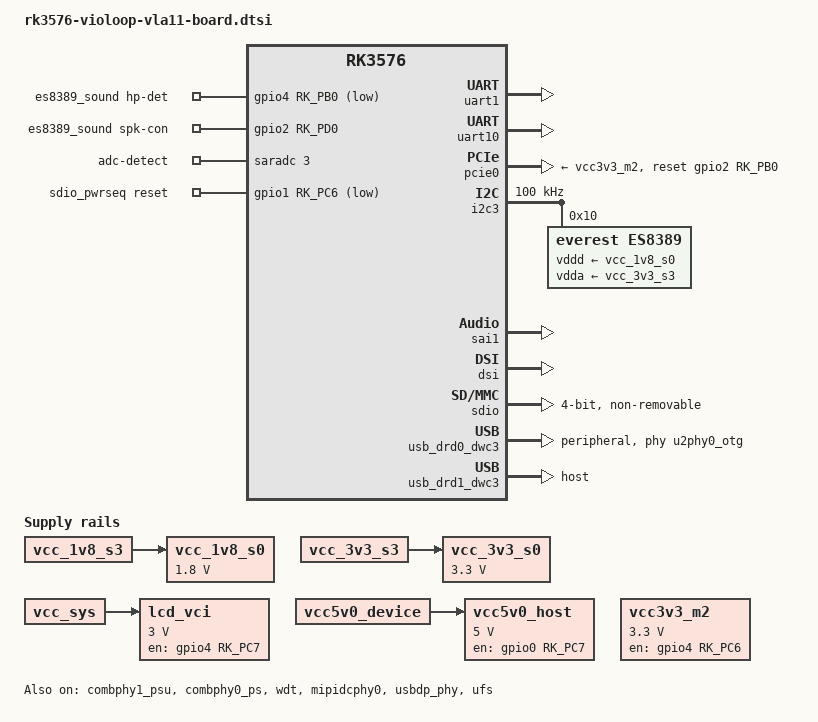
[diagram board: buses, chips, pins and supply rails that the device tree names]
// SPDX-License-Identifier: (GPL-2.0+ OR MIT)
/*
 * Copyright (c) 2024 Rockchip Electronics Co., Ltd.
 *
 */

#include <dt-bindings/usb/pd.h>
#include "../../rk3576-rk806.dtsi"

/ {
	es8389_sound: es8389-sound {
        status = "okay";
        compatible = "rockchip,multicodecs-card";
		/* Keep the legacy ALSA card ID expected by Violoop userspace. */
		rockchip,card-name = "rockchip-es8388";
        hp-det-gpio = <&gpio4 RK_PB0 GPIO_ACTIVE_LOW>;
        io-channels = <&saradc 3>;
        io-channel-names = "adc-detect";
        keyup-threshold-microvolt = <1800000>;
        poll-interval = <100>;
        spk-con-gpio = <&gpio2 RK_PD0 GPIO_ACTIVE_HIGH>;
        //hp-con-gpio = <&gpio3 RK_PD6 GPIO_ACTIVE_HIGH>;
		/* Keep the PA muted until the codec output is stable. */
		rockchip,pre-power-on-delay-ms = <150>;
		rockchip,post-power-down-delay-ms = <80>;
        rockchip,format = "i2s";
        rockchip,mclk-fs = <256>;
        rockchip,cpu = <&sai1>;
        rockchip,codec = <&es8389>;
        rockchip,audio-routing =
            "Speaker", "HPOL",
            "Speaker", "HPOR",
            "Speaker", "Speaker Power",
            "INPUT1", "Main Mic",
            "INPUT2", "Headset Mic";
        pinctrl-names = "default";
        pinctrl-0 = <&hp_det>;
        play-pause-key {
            label = "playpause";
            linux,code = <KEY_PLAYPAUSE>;
            press-threshold-microvolt = <2000>;
        };
    };



	sdio_pwrseq: sdio-pwrseq {
        compatible = "mmc-pwrseq-simple";
        pinctrl-names = "default";
        pinctrl-0 = <&wifi_poweren_gpio>;

        /*
         * On the module itself this is one of these (depending
         * on the actual card populated):
         * - SDIO_RESET_L_WL_REG_ON
         * - PDN (power down when low)
         */
        post-power-on-delay-ms = <200>;
        reset-gpios = <&gpio1 RK_PC6 GPIO_ACTIVE_LOW>;
        status = "okay";
    };

	vcc_1v8_s0: vcc-1v8-s0 {
		compatible = "regulator-fixed";
		regulator-name = "vcc_1v8_s0";
		regulator-boot-on;
		regulator-always-on;
		regulator-min-microvolt = <1800000>;
		regulator-max-microvolt = <1800000>;
		vin-supply = <&vcc_1v8_s3>;
	};

	vcc_3v3_s0: vcc-3v3-s0 {
		compatible = "regulator-fixed";
		regulator-name = "vcc_3v3_s0";
		regulator-boot-on;
		regulator-always-on;
		regulator-min-microvolt = <3300000>;
		regulator-max-microvolt = <3300000>;
		vin-supply = <&vcc_3v3_s3>;
	};







	lcd_vci: lcd-vci {
		compatible = "regulator-fixed";
		regulator-name = "lcd_vci";
		regulator-boot-on;
		regulator-min-microvolt = <3000000>;
		regulator-max-microvolt = <3000000>;
		enable-active-high;
		gpio = <&gpio4 RK_PC7 GPIO_ACTIVE_HIGH>;
		vin-supply = <&vcc_sys>;
		pinctrl-names = "default";
		pinctrl-0 = <&lcd_vci_en>;
	};

	vcc5v0_host: vcc5v0-host {
		compatible = "regulator-fixed";
		regulator-name = "vcc5v0_host";
		regulator-boot-on;
		regulator-always-on;
		regulator-min-microvolt = <5000000>;
		regulator-max-microvolt = <5000000>;
		enable-active-high;
		gpio = <&gpio0 RK_PC7 GPIO_ACTIVE_HIGH>;
		vin-supply = <&vcc5v0_device>;
		pinctrl-names = "default";
		pinctrl-0 = <&usb_host_pwren>;
	};

	vbus5v0_typec: vbus5v0-typec {
		compatible = "regulator-fixed";
		regulator-name = "vbus5v0_typec";
		regulator-min-microvolt = <5000000>;
		regulator-max-microvolt = <5000000>;
		enable-active-high;
		gpio = <&gpio0 RK_PC6 GPIO_ACTIVE_HIGH>;
		vin-supply = <&vcc5v0_device>;
		pinctrl-names = "default";
		pinctrl-0 = <&usb_otg0_pwren>;
		status = "disabled";
	};

	vcc3v3_m2: vcc3v3-m2 {
        compatible = "regulator-fixed";
        regulator-name = "vcc3v3_m2";
        gpios = <&gpio4 RK_PC6 GPIO_ACTIVE_HIGH>;
        enable-active-high;
        regulator-always-on;
        regulator-boot-on;
        regulator-min-microvolt = <3300000>;
        regulator-max-microvolt = <3300000>;
        startup-delay-us = <1000>;
    };


};



&combphy1_psu {
	status = "okay";
};

/**********禁用type-c dp输出节点**********/

&dp {
	status = "disabled";
	svid = <0xff01>;
};

&dp0 {
	status = "disabled";
};

&dp0_in_vp2 {
	status = "disabled";
};

&dp0_sound {
	status = "disabled";
};

&spdif_tx3 {
	status = "disabled";
};

/**********已适配内容**********/

/**********分支二禁用千兆网卡、调整为mcu uartx2交互**********/

&uart1 {
    status = "okay";
    pinctrl-names = "default";
    pinctrl-0 = <&uart1m2_xfer>;
};

&uart10 {
    status = "okay";
    pinctrl-names = "default";
    pinctrl-0 = <&uart10m0_xfer>;
};

/**********禁用hdmi节点**********/

&hdmi {
	status = "disabled";
	enable-gpios = <&gpio2 RK_PB0 GPIO_ACTIVE_HIGH>;
	rockchip,sda-falling-delay-ns = <360>;
};

&hdmi_in_vp0 {
	status = "disabled";
};

&hdptxphy_hdmi {
	status = "disabled";
};

&route_hdmi {
	status = "disabled";
	connect = <&vp0_out_hdmi>;
};

&vp0 {
	status = "disabled";
};

/**********PCIE-SSD**********/

&combphy0_ps {
	status = "okay";
};

&pcie0 {
    vpcie3v3-supply = <&vcc3v3_m2>;
    reset-gpios = <&gpio2 RK_PB0 GPIO_ACTIVE_HIGH>;
    status = "okay";
};

/**********看门狗**********/

&wdt{
        status = "okay";
};

/**********ES8390 模拟MIC、扬声器**********/

&i2c3 {
    status = "okay";
    /* ES8390 supports standard/fast I2C; keep the board bus at 100 kbit/s. */
    clock-frequency = <100000>;
    pinctrl-0 = <&i2c3m0_xfer>;
    es8389: es8389@10 {
        status = "okay";
        #sound-dai-cells = <0>;
        /* Linux supports ES8390 through the upstream ES8389 interface. */
        compatible = "everest,es8389";
        reg = <0x10>;
        vddd-supply = <&vcc_1v8_s0>;
        vdda-supply = <&vcc_3v3_s3>;
        clocks = <&mclkout_sai1>;
        clock-names = "mclk";
        assigned-clocks = <&mclkout_sai1>;
		assigned-clock-rates = <12288000>;
		/*
		 * U18 uses ES8390 LOUT2 and ROUT2 as a differential input pair.
		 * The physical VLA11 board requires ROUT2 to be 180 degrees out of
		 * phase with LOUT2; keep the vendor stereo channel routing intact.
		 */
		everest,invert-right-output;
		/* 179 is -6 dB on the ES8390 0.5 dB/step DAC scale. */
		everest,dac-playback-volume = <179>;
        pinctrl-names = "default";
        pinctrl-0 = <&sai1m0_mclk>;
    };
};

&sai1 {
    status = "okay";
    pinctrl-names = "default";
    pinctrl-0 = <&sai1m0_lrck
             &sai1m0_sclk
             &sai1m0_sdi0
             &sai1m0_sdo0>;
};

/**********3.92寸屏幕**********/

/*
 * mipidcphy0 needs to be enabled
 * when dsi is enabled
 */
&dsi {
	/* Panel TE (FPC pin 39) is only routed to TP14, not to RK3576. */
	disable-hold-mode;
	status = "okay";
};

&dsi_panel {
	reset-gpios = <&gpio3 RK_PA4 GPIO_ACTIVE_LOW>;
	power-supply = <&lcd_vci>;
	pinctrl-names = "default";
	pinctrl-0 = <&lcd_reset_l>;
};

&mipidcphy0 {
	status = "okay";
};

/**********No TF connector on VLA11**********/

&sdmmc {
	status = "disabled";
};

/**********AIC8800D40 Wi-Fi/BT (vendor D80 software package)**********/

&sdio {
    max-frequency = <200000000>;
    no-sd;
    no-mmc;
    bus-width = <4>;
    disable-wp;
    cap-sd-highspeed;
    cap-sdio-irq;
    keep-power-in-suspend;
    mmc-pwrseq = <&sdio_pwrseq>;
    non-removable;
    pinctrl-names = "default";
    pinctrl-0 = <&sdmmc1m0_bus4 &sdmmc1m0_clk &sdmmc1m0_cmd>;
    sd-uhs-sdr104;
    status = "okay";
};

/**********已适配内容**********/




&pinctrl {
	lcd {
		/* GPIO4_C7 drives U26 SHDN; keep it low until the regulator enables VCI. */
		lcd_vci_en: lcd-vci-en {
			rockchip,pins = <4 RK_PC7 RK_FUNC_GPIO &pcfg_pull_down>;
		};

		/* Keep RSTB high before panel-simple generates its low reset pulse. */
		lcd_reset_l: lcd-reset-l {
			rockchip,pins = <3 RK_PA4 RK_FUNC_GPIO &pcfg_pull_up>;
		};
	};


	headphone {
		hp_det: hp-det {
			rockchip,pins = <4 RK_PB0 RK_FUNC_GPIO &pcfg_pull_up>;
		};
	};

	usb {
		usb_host_pwren: usb-host-pwren {
			rockchip,pins = <0 RK_PC7 RK_FUNC_GPIO &pcfg_pull_none>;
		};

		/* Referenced by the disabled legacy VBUS regulator node. */
		usb_otg0_pwren: usb-otg0-pwren {
			rockchip,pins = <0 RK_PC6 RK_FUNC_GPIO &pcfg_pull_none>;
		};
	};

	wireless-wlan {
		wifi_poweren_gpio: wifi-poweren-gpio {
			rockchip,pins = <1 RK_PC6 RK_FUNC_GPIO &pcfg_pull_up>;
		};
	};
};













/*
 * VLA11 pulls USB2_OTG0_VBUSDET up to 3.3 V through R88 and has no
 * TCPC/usb-role-switch path.  The Type-C VBUS rail is a separate net, so
 * neither the UTMI BVALID pin nor the Type-C GRF state can report attach.
 */
&u2phy0_otg {
	rockchip,vbus-always-on;
};

&u2phy1_otg {
	phy-supply = <&vcc5v0_host>;
};

&usbdp_phy {
	status = "okay";
};

/*
 * The VLA11 Type-C SuperSpeed pairs are routed to LT7911EXC for DP input,
 * not to RK3576 USB3.  RK3576 only owns the USB2 D+/D- pair on this port.
 */
&usbdp_phy_u3 {
	status = "disabled";
};

&usb_drd0_dwc3 {
	phys = <&u2phy0_otg>;
	phy-names = "usb2-phy";
	dr_mode = "peripheral";
	maximum-speed = "high-speed";
	extcon = <&u2phy0>;
	snps,dis_u2_susphy_quirk;
	snps,usb2-lpm-disable;
	status = "okay";
};

&usb_drd1_dwc3 {
	dr_mode = "host";
	status = "okay";
};

/**********KM8V7001JM-B810 UFS 2.1 storage**********/

&ufs {
	reset-gpios = <&gpio4 RK_PD0 GPIO_ACTIVE_HIGH>;
	vcc-supply = <&vcc_3v3_s0>;
	vccq2-supply = <&vcc_1v8_s0>;
	status = "okay";
};
